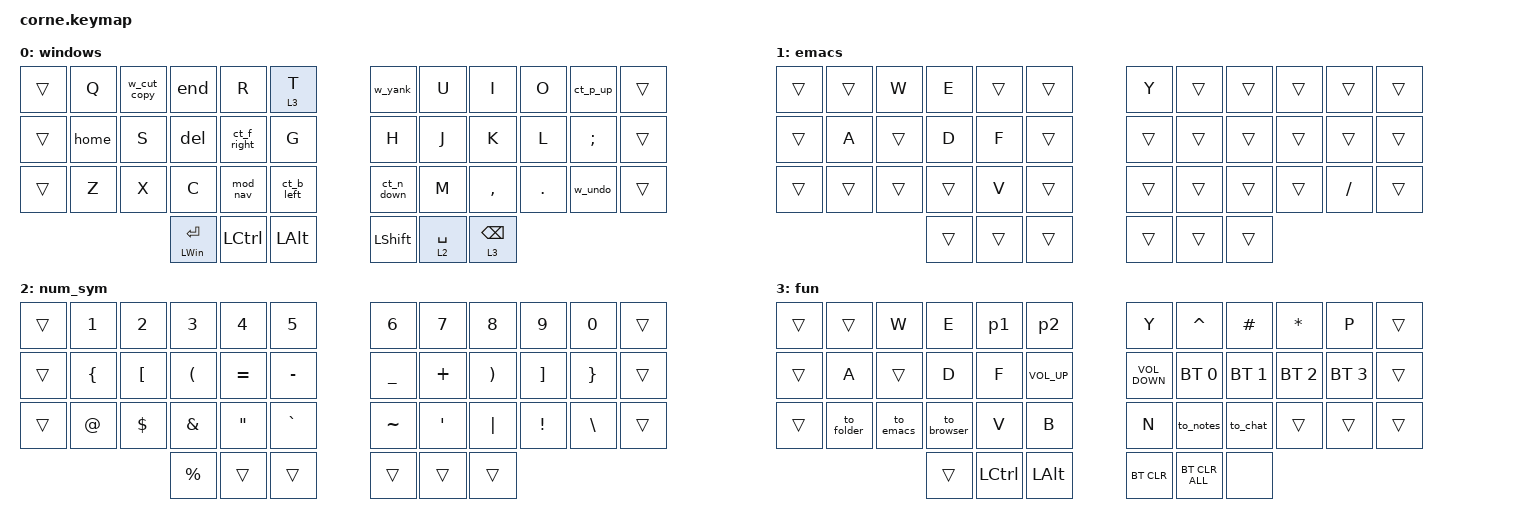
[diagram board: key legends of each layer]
/*
 * Copyright (c) 2020 The ZMK Contributors
 *
 * SPDX-License-Identifier: MIT
 */

#include <behaviors.dtsi>
#include <dt-bindings/zmk/bt.h>
#include <dt-bindings/zmk/keys.h>

/ {
    behaviors {
        ct_p_up: ct_p_up {
            compatible = "zmk,behavior-mod-morph";
            label = "CT_P_UP";
            bindings = <&kp P>, <&kp UP_ARROW>;

            #binding-cells = <0>;
            mods = <(MOD_LCTL)>;
        };

        ct_n_down: ct_n_down {
            compatible = "zmk,behavior-mod-morph";
            label = "CT_N_DOWN";
            bindings = <&kp N>, <&kp DOWN>;

            #binding-cells = <0>;
            mods = <(MOD_LCTL)>;
        };

        ct_b_left: ct_b_left {
            compatible = "zmk,behavior-mod-morph";
            label = "CT_B_LEFT";
            bindings = <&kp B>, <&kp LEFT>;

            #binding-cells = <0>;
            mods = <(MOD_LCTL)>;
        };

        ct_f_right: ct_f_right {
            compatible = "zmk,behavior-mod-morph";
            label = "CT_F_RIGHT";
            bindings = <&kp F>, <&kp RIGHT>;

            #binding-cells = <0>;
            mods = <(MOD_LCTL)>;
        };

        mod_ctrl: mod_ctrl {
            compatible = "zmk,behavior-mod-morph";
            #binding-cells = <0>;
            bindings = <&kp V>, <&kp PAGE_DOWN>;

            mods = <MOD_LCTL>;
        };

        mod_nav: mod_nav {
            compatible = "zmk,behavior-mod-morph";
            #binding-cells = <0>;
            bindings = <&mod_ctrl>, <&kp PAGE_UP>;

            mods = <MOD_LALT>;
        };

        home: home {
            compatible = "zmk,behavior-mod-morph";
            #binding-cells = <0>;
            bindings = <&kp A>, <&kp HOME>;

            mods = <(MOD_LCTL)>;
        };

        end: end {
            compatible = "zmk,behavior-mod-morph";
            #binding-cells = <0>;
            bindings = <&kp E>, <&kp END>;

            mods = <(MOD_LCTL)>;
        };

        del: del {
            compatible = "zmk,behavior-mod-morph";
            #binding-cells = <0>;
            bindings = <&kp D>, <&kp DEL>;

            mods = <(MOD_LCTL)>;
        };

        m_cut: m_cut {
            compatible = "zmk,behavior-mod-morph";
            #binding-cells = <0>;
            bindings = <&kp W>, <&kp LG(X)>;

            mods = <(MOD_LCTL)>;
        };

        m_cut_copy: m_cut_copy {
            compatible = "zmk,behavior-mod-morph";
            #binding-cells = <0>;
            bindings = <&m_cut>, <&kp LG(C)>;

            mods = <MOD_LALT>;
        };

        m_yank: m_yank {
            compatible = "zmk,behavior-mod-morph";
            #binding-cells = <0>;
            bindings = <&kp Y>, <&kp LG(V)>;

            mods = <(MOD_LCTL)>;
        };

        m_undo: m_undo {
            compatible = "zmk,behavior-mod-morph";
            #binding-cells = <0>;
            bindings = <&kp SLASH>, <&kp LG(Z)>;

            mods = <(MOD_LCTL)>;
        };

        w_cut: w_cut {
            compatible = "zmk,behavior-mod-morph";
            #binding-cells = <0>;
            bindings = <&kp W>, <&kp LC(X)>;

            mods = <(MOD_LCTL)>;
        };

        w_cut_copy: w_cut_copy {
            compatible = "zmk,behavior-mod-morph";
            #binding-cells = <0>;
            bindings = <&w_cut>, <&kp LC(C)>;

            mods = <MOD_LALT>;
        };

        w_yank: w_yank {
            compatible = "zmk,behavior-mod-morph";
            #binding-cells = <0>;
            bindings = <&kp Y>, <&kp LC(V)>;

            mods = <(MOD_LCTL)>;
        };

        w_undo: w_undo {
            compatible = "zmk,behavior-mod-morph";
            #binding-cells = <0>;
            bindings = <&kp SLASH>, <&kp LC(Z)>;

            mods = <(MOD_LCTL)>;
        };
    };

    macros {
        to_folder: to_folder {
            compatible = "zmk,behavior-macro";
            #binding-cells = <0>;
            bindings =
                <&macro_press>,
                <&kp LGUI>,
                <&macro_press>,
                <&kp NUMBER_1>,
                <&macro_release>,
                <&kp NUMBER_1>,
                <&macro_release>,
                <&kp LGUI>,
                <&macro_press>,
                <&to 0>,
                <&macro_release>,
                <&to 0>;
        };

        to_emacs: to_emacs {
            compatible = "zmk,behavior-macro";
            #binding-cells = <0>;
            bindings =
                <&macro_press>,
                <&kp LGUI>,
                <&macro_press>,
                <&kp NUMBER_2>,
                <&macro_release>,
                <&kp NUMBER_2>,
                <&macro_release>,
                <&kp LGUI>,
                <&macro_press>,
                <&to 1>,
                <&macro_release>,
                <&to 1>;
        };

        to_browser: to_browser {
            compatible = "zmk,behavior-macro";
            #binding-cells = <0>;
            bindings =
                <&macro_press>,
                <&kp LGUI>,
                <&macro_press>,
                <&kp NUMBER_3>,
                <&macro_release>,
                <&kp NUMBER_3>,
                <&macro_release>,
                <&kp LGUI>,
                <&macro_press>,
                <&to 0>,
                <&macro_release>,
                <&to 0>;
        };

        to_terminal: to_terminal {
            compatible = "zmk,behavior-macro";
            #binding-cells = <0>;
            bindings =
                <&macro_press>,
                <&kp LGUI>,
                <&macro_press>,
                <&kp NUMBER_4>,
                <&macro_release>,
                <&kp NUMBER_4>,
                <&macro_release>,
                <&kp LGUI>,
                <&macro_press>,
                <&to 0>,
                <&macro_release>,
                <&to 0>;
        };

        to_notes: to_notes {
            compatible = "zmk,behavior-macro";
            #binding-cells = <0>;
            bindings =
                <&macro_press>,
                <&kp LGUI>,
                <&macro_press>,
                <&kp NUMBER_5>,
                <&macro_release>,
                <&kp NUMBER_5>,
                <&macro_release>,
                <&kp LGUI>,
                <&macro_press>,
                <&to 0>,
                <&macro_release>,
                <&to 0>;
        };

        to_chat: to_chat {
            compatible = "zmk,behavior-macro";
            #binding-cells = <0>;
            bindings =
                <&macro_press>,
                <&kp LGUI>,
                <&macro_press>,
                <&kp NUMBER_6>,
                <&macro_release>,
                <&kp NUMBER_6>,
                <&macro_release>,
                <&kp LGUI>,
                <&macro_press>,
                <&to 0>,
                <&macro_release>,
                <&to 0>;
        };

        p1: p1 {
            compatible = "zmk,behavior-macro";
            #binding-cells = <0>;
            bindings = <&none &kp LS(A) &kp LS(C) &kp N1 &kp N0 &kp N8 &kp A &kp L &kp L &kp I &kp E &kp D &kp POUND &kp DLLR>;
            label = "P1";
        };

        p2: p2 {
            compatible = "zmk,behavior-macro";
            #binding-cells = <0>;
            bindings = <&none &kp LS(J) &kp E &kp R &kp G &kp O &kp T &kp A &kp S &kp S &kp N1 &kp N2 &kp N3 &kp EXCL &kp EXCL>;
            label = "P2";
        };
    };

    combos {
        compatible = "zmk,combos";

        esc {
            bindings = <&kp ESCAPE>;
            key-positions = <27 32>;
        };

        tab {
            bindings = <&kp TAB>;
            key-positions = <26 33>;
        };
    };

    keymap {
        compatible = "zmk,keymap";

        windows {
            display-name = "windows";
            bindings = <
&trans  &kp Q  &w_cut_copy  &end                &kp R        &lt 3 T       &w_yank     &kp U        &kp I            &kp O       &ct_p_up  &trans
&trans  &home  &kp S        &del                &ct_f_right  &kp G         &kp H       &kp J        &kp K            &kp L       &kp SEMI  &trans
&trans  &kp Z  &kp X        &kp C               &mod_nav     &ct_b_left    &ct_n_down  &kp M        &kp COMMA        &kp PERIOD  &w_undo   &trans
                            &mt LEFT_WIN ENTER  &kp LCTRL    &kp LALT      &kp LSHFT   &lt 2 SPACE  &lt 3 BACKSPACE
            >;
        };

        emacs {
            bindings = <
&trans  &trans  &kp W   &kp E   &trans  &trans    &kp Y   &trans  &trans  &trans  &trans     &trans
&trans  &kp A   &trans  &kp D   &kp F   &trans    &trans  &trans  &trans  &trans  &trans     &trans
&trans  &trans  &trans  &trans  &kp V   &trans    &trans  &trans  &trans  &trans  &kp SLASH  &trans
                        &trans  &trans  &trans    &trans  &trans  &trans
            >;
        };

        num_sym {
            bindings = <
&trans  &kp NUMBER_1    &kp NUMBER_2      &kp NUMBER_3          &kp NUMBER_4       &kp N5       &kp NUMBER_6    &kp N7            &kp N8                 &kp N9             &kp N0           &trans
&trans  &kp LEFT_BRACE  &kp LEFT_BRACKET  &kp LEFT_PARENTHESIS  &kp EQUAL          &kp MINUS    &kp UNDERSCORE  &kp PLUS          &kp RIGHT_PARENTHESIS  &kp RIGHT_BRACKET  &kp RIGHT_BRACE  &trans
&trans  &kp AT          &kp DOLLAR        &kp AMPS              &kp DOUBLE_QUOTES  &kp GRAVE    &kp TILDE       &kp SINGLE_QUOTE  &kp PIPE               &kp EXCLAMATION    &kp BACKSLASH    &trans
                                          &kp PERCENT           &trans             &trans       &trans          &trans            &trans
            >;
        };

        fun {
            bindings = <
&trans  &trans      &kp W      &kp E        &p1        &p2                &kp Y              &kp CARET       &kp HASH      &kp ASTRK     &kp P         &trans
&trans  &kp A       &trans     &kp D        &kp F      &kp C_VOLUME_UP    &kp C_VOLUME_DOWN  &bt BT_SEL 0    &bt BT_SEL 1  &bt BT_SEL 2  &bt BT_SEL 3  &trans
&trans  &to_folder  &to_emacs  &to_browser  &kp V      &kp B              &kp N              &to_notes       &to_chat      &trans        &trans        &trans
                               &trans       &kp LCTRL  &kp LALT           &bt BT_CLR         &bt BT_CLR_ALL  &none
            >;
        };
    };
};
